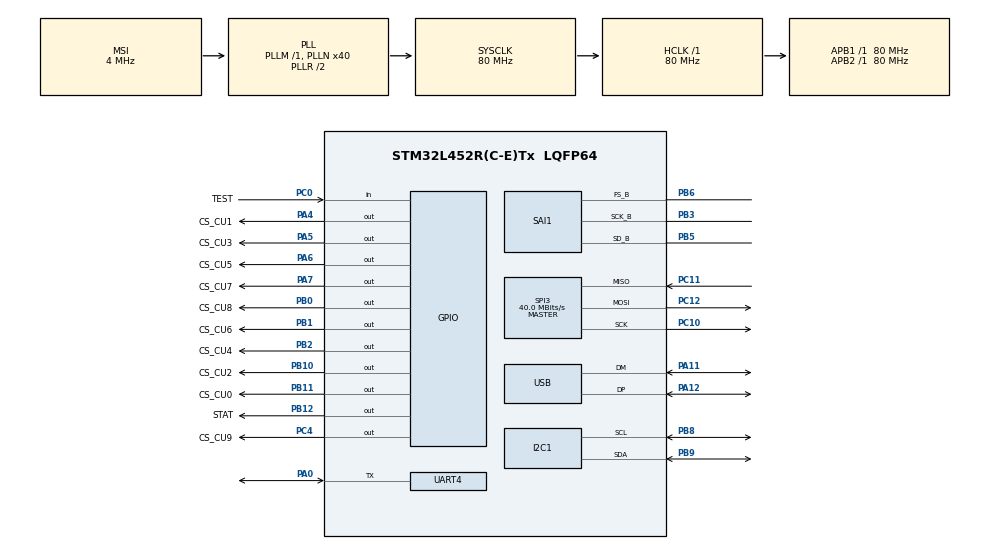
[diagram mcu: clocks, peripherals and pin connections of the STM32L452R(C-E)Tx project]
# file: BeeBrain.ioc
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Dma.Request0=SAI1_B
Dma.Request1=SPI3_RX
Dma.Request2=SPI3_TX
Dma.Request3=UART4_TX
Dma.Request4=UART4_RX
Dma.SAI1_B.0.Direction=DMA_PERIPH_TO_MEMORY
Dma.SAI1_B.0.Instance=DMA2_Channel7
Dma.SAI1_B.0.MemDataAlignment=DMA_MDATAALIGN_WORD
Dma.SAI1_B.0.MemInc=DMA_MINC_ENABLE
Dma.SAI1_B.0.Mode=DMA_CIRCULAR
Dma.SAI1_B.0.PeriphDataAlignment=DMA_PDATAALIGN_WORD
Dma.SAI1_B.0.PeriphInc=DMA_PINC_DISABLE
Dma.SAI1_B.0.Priority=DMA_PRIORITY_HIGH
Dma.SPI3_RX.1.Direction=DMA_PERIPH_TO_MEMORY
Dma.SPI3_RX.1.Instance=DMA2_Channel1
Dma.SPI3_RX.1.MemDataAlignment=DMA_MDATAALIGN_BYTE
Dma.SPI3_RX.1.MemInc=DMA_MINC_ENABLE
Dma.SPI3_RX.1.Mode=DMA_NORMAL
Dma.SPI3_RX.1.PeriphDataAlignment=DMA_PDATAALIGN_BYTE
Dma.SPI3_RX.1.PeriphInc=DMA_PINC_DISABLE
Dma.SPI3_RX.1.Priority=DMA_PRIORITY_LOW
Dma.SPI3_TX.2.Direction=DMA_MEMORY_TO_PERIPH
Dma.SPI3_TX.2.Instance=DMA2_Channel2
Dma.SPI3_TX.2.MemDataAlignment=DMA_MDATAALIGN_BYTE
Dma.SPI3_TX.2.MemInc=DMA_MINC_ENABLE
Dma.SPI3_TX.2.Mode=DMA_NORMAL
Dma.SPI3_TX.2.PeriphDataAlignment=DMA_PDATAALIGN_BYTE
Dma.SPI3_TX.2.PeriphInc=DMA_PINC_DISABLE
Dma.SPI3_TX.2.Priority=DMA_PRIORITY_LOW
Dma.UART4_RX.4.Direction=DMA_PERIPH_TO_MEMORY
Dma.UART4_RX.4.Instance=DMA2_Channel5
Dma.UART4_RX.4.MemDataAlignment=DMA_MDATAALIGN_BYTE
Dma.UART4_RX.4.MemInc=DMA_MINC_ENABLE
Dma.UART4_RX.4.Mode=DMA_NORMAL
Dma.UART4_RX.4.PeriphDataAlignment=DMA_PDATAALIGN_BYTE
Dma.UART4_RX.4.PeriphInc=DMA_PINC_DISABLE
Dma.UART4_RX.4.Priority=DMA_PRIORITY_LOW
Dma.UART4_TX.3.Direction=DMA_MEMORY_TO_PERIPH
Dma.UART4_TX.3.Instance=DMA2_Channel3
Dma.UART4_TX.3.MemDataAlignment=DMA_MDATAALIGN_BYTE
Dma.UART4_TX.3.MemInc=DMA_MINC_ENABLE
Dma.UART4_TX.3.Mode=DMA_NORMAL
Dma.UART4_TX.3.PeriphDataAlignment=DMA_PDATAALIGN_BYTE
Dma.UART4_TX.3.PeriphInc=DMA_PINC_DISABLE
Dma.UART4_TX.3.Priority=DMA_PRIORITY_LOW
I2C1.Timing=0x10D19CE4
Mcu.Family=STM32L4
Mcu.Name=STM32L452R(C-E)Tx
Mcu.Package=LQFP64
NVIC.DMA2_Channel1_IRQn=true\:0\:0\:false\:false\:true\:false\:true\:true
NVIC.DMA2_Channel2_IRQn=true\:0\:0\:false\:false\:true\:false\:true\:true
NVIC.DMA2_Channel3_IRQn=true\:0\:0\:false\:false\:true\:false\:true\:true
NVIC.DMA2_Channel5_IRQn=true\:0\:0\:false\:false\:true\:false\:true\:true
NVIC.DMA2_Channel7_IRQn=true\:0\:0\:false\:false\:true\:false\:true\:true
NVIC.PriorityGroup=NVIC_PRIORITYGROUP_4
NVIC.USB_IRQn=true\:0\:0\:false\:false\:true\:false\:true\:true
PA0.Mode=Half_duplex(single_wire_mode)
PA0.Signal=UART4_TX
PA11.Mode=Device
PA11.Signal=USB_DM
PA12.Mode=Device
PA12.Signal=USB_DP
PA13\ (JTMS/SWDIO).Mode=Serial_Wire
PA13\ (JTMS/SWDIO).Signal=SYS_JTMS-SWDIO
PA14\ (JTCK/SWCLK).Mode=Serial_Wire
PA14\ (JTCK/SWCLK).Signal=SYS_JTCK-SWCLK
PA4.GPIO_Label=CS_CU1
PA4.GPIO_PuPd=GPIO_PULLUP
PA4.Signal=GPIO_Output
PA5.GPIO_Label=CS_CU3
PA5.GPIO_PuPd=GPIO_PULLUP
PA5.Signal=GPIO_Output
PA6.GPIO_Label=CS_CU5
PA6.GPIO_PuPd=GPIO_PULLUP
PA6.Signal=GPIO_Output
PA7.GPIO_Label=CS_CU7
PA7.GPIO_PuPd=GPIO_PULLUP
PA7.Signal=GPIO_Output
PB0.GPIO_Label=CS_CU8
PB0.GPIO_PuPd=GPIO_PULLUP
PB0.Signal=GPIO_Output
PB1.GPIO_Label=CS_CU6
PB1.GPIO_PuPd=GPIO_PULLUP
PB1.Signal=GPIO_Output
PB10.GPIO_Label=CS_CU2
PB10.GPIO_PuPd=GPIO_PULLUP
PB10.Signal=GPIO_Output
PB11.GPIO_Label=CS_CU0
PB11.GPIO_PuPd=GPIO_PULLUP
PB11.Signal=GPIO_Output
PB12.GPIO_Label=STAT
PB12.GPIO_PuPd=GPIO_PULLUP
PB12.Signal=GPIO_Output
PB2.GPIO_Label=CS_CU4
PB2.GPIO_PuPd=GPIO_PULLUP
PB2.Signal=GPIO_Output
PB3\ (JTDO/TRACESWO).Mode=SAI_B_Master
PB3\ (JTDO/TRACESWO).Signal=SAI1_SCK_B
PB5.Mode=SAI_B_Master
PB5.Signal=SAI1_SD_B
PB6.Mode=SAI_B_Master
PB6.Signal=SAI1_FS_B
PB8.Mode=I2C
PB8.Signal=I2C1_SCL
PB9.Mode=I2C
PB9.Signal=I2C1_SDA
PC0.GPIO_Label=TEST
PC0.Signal=GPIO_Input
PC10.Mode=Full_Duplex_Master
PC10.Signal=SPI3_SCK
PC11.Mode=Full_Duplex_Master
PC11.Signal=SPI3_MISO
PC12.Mode=Full_Duplex_Master
PC12.Signal=SPI3_MOSI
PC4.GPIO_Label=CS_CU9
PC4.GPIO_PuPd=GPIO_PULLUP
PC4.Signal=GPIO_Output
ProjectManager.HeapSize=0x200
ProjectManager.StackSize=0x400
ProjectManager.TargetToolchain=STM32CubeIDE
RCC.ADCFreq_Value=48000000
RCC.AHBFreq_Value=80000000
RCC.APB1Freq_Value=80000000
RCC.APB1TimFreq_Value=80000000
RCC.APB2Freq_Value=80000000
RCC.APB2TimFreq_Value=80000000
RCC.CK48CLockSelection=RCC_USBCLKSOURCE_HSI48
RCC.CortexFreq_Value=80000000
RCC.HCLKFreq_Value=80000000
RCC.HSE_VALUE=8000000
RCC.HSI48_VALUE=48000000
RCC.HSI_VALUE=16000000
RCC.LSE_VALUE=32768
RCC.MSI_VALUE=4000000
RCC.PLLN=40
RCC.PLLSAI1N=24
RCC.PLLSAI1P=RCC_PLLP_DIV2
RCC.SYSCLKFreq_VALUE=80000000
RCC.SYSCLKSource=RCC_SYSCLKSOURCE_PLLCLK
RCC.USBFreq_Value=48000000
RCC.VCOOutputFreq_Value=160000000
SAI1.AudioFrequency-SAI_B_Master=SAI_AUDIO_FREQUENCY_16K
SAI1.AudioMode-SAI_B_Master=SAI_MODEMASTER_RX
SAI1.BasicDataSize-SAI_B_Master=SAI_PROTOCOL_DATASIZE_24BIT
SAI1.BasicSlotNumber-SAI_B_Master=2
SAI1.ErrorAudioFreq-SAI_B_Master=-2.34 %
SAI1.InitProtocol-SAI_B_Master=Enable
SAI1.Instance-SAI_B_Master=SAI$Index_Block_B
SAI1.MClockEnable-SAI_B_Master=SAI_MASTERCLOCK_DISABLE
SAI1.MonoStereoMode-SAI_B_Master=SAI_MONOMODE
SAI1.NoDivider-SAI_B_Master=SAI_MASTERDIVIDER_ENABLE
SAI1.OutputDrive-SAI_B_Master=SAI_OUTPUTDRIVE_DISABLE
SAI1.RealAudioFreq-SAI_B_Master=15.625 KHz
SAI1.VirtualMode-SAI_B_Master=VM_MASTER
SAI1.VirtualProtocol-SAI_B_BASIC=VM_BASIC_PROTOCOL
SPI3.CalculateBaudRate=40.0 MBits/s
SPI3.DataSize=SPI_DATASIZE_8BIT
SPI3.Direction=SPI_DIRECTION_2LINES
SPI3.Mode=SPI_MODE_MASTER
SPI3.VirtualType=VM_MASTER
STMicroelectronics.X-CUBE-ALGOBUILD.1.4.0.LibraryCcDSPOoLibraryJjDSPOoLibrary=true
USB_DEVICE.CLASS_NAME_FS=CDC
USB_DEVICE.VirtualMode=Cdc
USB_DEVICE.VirtualModeFS=Cdc_FS
VP_SAI1_VP_$IpInstance_SAIB_SAI_BASIC.Mode=SAI_B_BASIC
VP_STMicroelectronics.X-CUBE-ALGOBUILD_VS_DSPOoLibraryJjLibrary_1.4.0_1.4.0.Mode=DSPOoLibraryJjLibrary
VP_USB_DEVICE_VS_USB_DEVICE_CDC_FS.Mode=CDC_FS
board=custom

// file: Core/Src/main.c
/* USER CODE BEGIN Header */
/**
  ******************************************************************************
  * @file           : main.c
  * @brief          : Main program body
  ******************************************************************************
  * @attention
  *
  * Copyright (c) 2024 STMicroelectronics.
  * All rights reserved.
  *
  * This software is licensed under terms that can be found in the LICENSE file
  * in the root directory of this software component.
  * If no LICENSE file comes with this software, it is provided AS-IS.
  *
  ******************************************************************************
  */
/* USER CODE END Header */
#include "main.h"
#include "dma.h"
#include "i2c.h"
#include "sai.h"
#include "spi.h"
#include "usart.h"
#include "usb_device.h"
#include "gpio.h"

/* USER CODE BEGIN Includes */

#include "usbd_cdc_if.h"
#include "scd4x_i2c.h"
#include "string.h"
/* USER CODE END Includes */

/* USER CODE BEGIN PV */
uint8_t USB_Flag;
USB_Command_t USB_Command;

/** Received data over USB are stored in this buffer      */
extern uint8_t UserRxBufferFS[APP_RX_DATA_SIZE];

/** Data to send over USB CDC are stored in this buffer   */
extern uint8_t UserTxBufferFS[APP_TX_DATA_SIZE];
uint16_t UserTxBufferFS_pointer;

/*Response arrays variables*/
int8_t SCD_data[16];
int8_t BRAIN_response[4];
uint8_t spi_response;
int8_t audio_mode = 0;
int32_t data_sai[WAV_WRITE_SAMPLE_COUNT];
float32_t data_mic_left[WAV_WRITE_SAMPLE_COUNT];

volatile int16_t sample_sai;
arm_rfft_fast_instance_f32 fft_audio_instance;
volatile uint8_t  half_sai, full_sai;

CUPREXIT_Command active_command;
CUPREXIT_Device *active_device;

//CUPREXIT_Device CU_devices[NMBR_CU];

int8_t SPIRxBuffer[64];
int8_t SPITxBuffer[64];

uint8_t timestamp[8];
/* USER CODE END PV */

void SystemClock_Config(void);

int main(void)
{

  /* MCU Configuration--------------------------------------------------------*/

  /* Reset of all peripherals, Initializes the Flash interface and the Systick. */
  HAL_Init();

  /* Configure the system clock */
  SystemClock_Config();

  /* Initialize all configured peripherals */
  MX_GPIO_Init();
  MX_DMA_Init();
  MX_I2C1_Init();
  MX_SAI1_Init();
  MX_SPI3_Init();
  MX_UART4_Init();
  MX_USB_DEVICE_Init();
  /* USER CODE BEGIN 2 */
  char* data = "STARTING WHILE receiving\r\n";
  char* data2 = "Recived\r\n";
  /*Start Usart half duplex comunication*/
  //int i = 0;
  /*CUPREXIT_InitDevice(&CU_devices[0], &hspi3, i++, CS_CU0_Pin, CS_CU0_GPIO_Port);
  CUPREXIT_InitDevice(&CU_devices[1], &hspi3, i++, CS_CU1_Pin, CS_CU1_GPIO_Port);
  CUPREXIT_InitDevice(&CU_devices[2], &hspi3, i++, CS_CU2_Pin, CS_CU2_GPIO_Port);
  CUPREXIT_InitDevice(&CU_devices[3], &hspi3, i++, CS_CU3_Pin, CS_CU3_GPIO_Port);
  CUPREXIT_InitDevice(&CU_devices[4], &hspi3, i++, CS_CU4_Pin, CS_CU4_GPIO_Port);
  CUPREXIT_InitDevice(&CU_devices[5], &hspi3, i++, CS_CU5_Pin, CS_CU5_GPIO_Port);
  CUPREXIT_InitDevice(&CU_devices[6], &hspi3, i++, CS_CU6_Pin, CS_CU6_GPIO_Port);
  CUPREXIT_InitDevice(&CU_devices[7], &hspi3, i++, CS_CU7_Pin, CS_CU7_GPIO_Port);
  CUPREXIT_InitDevice(&CU_devices[8], &hspi3, i++, CS_CU8_Pin, CS_CU8_GPIO_Port);
  CUPREXIT_InitDevice(&CU_devices[9], &hspi3, i++, CS_CU9_Pin, CS_CU9_GPIO_Port);
  handleCUPCommand(CUPREXIT_COMMAND_GET_CALIB, CU_devices);*/

  /* USER CODE END 2 */

  /* Infinite loop */
  /* USER CODE BEGIN WHILE */
  //HAL_UART_Transmit(&huart4, (uint8_t*)"STARTING WHILE receiving\r\n", 26, 1000);
  //nastavení urt na příme do DMA
  //HAL_HalfDuplex_EnableReceiver(&huart4);
  //HAL_UART_Receive_DMA(&huart4, UserRxBufferFS, APP_RX_DATA_SIZE);
  USB_Command=USB_COMMAND_GET_AUDIO;
  audio_mode = 0;
  USB_Flag=1;
  HAL_UART_Transmit(&huart4, (uint8_t*)"STARTING WHILE receiving\r\n", 26, 1000);
  while (1)
  {

    //CDC_Transmit_FS((uint8_t*)data, strlen(data));
    //HAL_Delay(1000);
    if (USB_Flag == 1){
	  	//CDC_Transmit_FS((uint8_t*)data2, strlen(data2));

      	USB_Flag = 0;
        //USB_Command = UserRxBufferFS[0];
        uint8_t* USB_DATA = &UserRxBufferFS[1];
        uint8_t tmp_off[4], alt[2];
        uint8_t data[10] ;
        uint8_t scd_serial[6];
        uint8_t command_byte = (uint8_t)USB_Command;
      	switch(USB_Command){
          /*case USB_COMMAND_RESET:
            addDataToUSBBuffer((uint8_t*)USB_COMMAND_RESET, 1, 0);
            sendUSBMasssage();
            resetDevice();
            break;  */
      	  /*case USB_COMMAND_PING:
            addDataToUSBBuffer((uint8_t*)USB_COMMAND_PING, 1, 0);
            break;
*/
          /*case USB_COMMAND_CONF:
            scd4x_wake_up();
            addDataToUSBBuffer(handleSCD4xGetting(scd_serial, 4, scd4x_get_serial_number_block, SCD_OK, SCD_ERR), 2, SCD_LOG_SNO);
            addDataToUSBBuffer(scd_serial, sizeof(scd_serial), SCD_SNO);
            addDataToUSBBuffer(handleSCD4xGetting(tmp_off, 4, scd4x_get_temperature_offset_int8, SCD_OK, SCD_ERR), 4, SCD_LOG_TEMP);
            addDataToUSBBuffer(tmp_off, sizeof(tmp_off), SCD_CAL_TEMP);
            addDataToUSBBuffer(handleSCD4xGetting(alt, 4, scd4x_get_sensor_altitude_int8, SCD_OK, SCD_ERR), 2, SCD_LOG_ALT);
            addDataToUSBBuffer(alt, sizeof(alt), SCD_CAL_ALT);
            scd4x_power_down();
            addDataToUSBBuffer(NULL, 1, CUx_TEMP);
            //for (int i = 0; i < NMBR_CU; i++) {
              //addDataToUSBBuffer((uint8_t*)&CU_devices[i].User_ID, sizeof(CU_devices[i].User_ID), 0);
              //addDataToUSBBuffer((uint8_t*)(CU_devices[i].Device_UID), sizeof(CU_devices[i].Device_UID), 0);
              //addDataToUSBBuffer((uint8_t*)(CU_devices[i].calib), sizeof(CU_devices[i].calib), 0);
            //}
            break;
*/
          case USB_COMMAND_GET_AUDIO:
            StartAudioProcessing(0,0);
            break;
          /*case USB_COMMAND_CLIMA:
            addDataToBuffer(&command_byte, 1,0);
            //addDataToUSBBuffer(handleSCD4xGetting(data, 4, scd4x_read_measurement_block, SCD_OK, SCD_ERR), 2, 0);
            addDataToBuffer(data, sizeof(data), SCD_DATA);
            break;
          */

          case USB_COMMAND_GET_CU_CALIB:
            //handleCUPCommand(CUPREXIT_COMMAND_GET_CALIB, CU_devices);
            break;
          case USB_COMMAND_SET_CU_CALIB:

           // handleCUPCommand(CUPREXIT_COMMAND_SET_CALIB, CU_devices);
            break;
          case USB_COMMAND_GET_CU_TEMP:
            //handleCUPCommand(CUPREXIT_COMMAND_MEAS, CU_devices);
            break;
          case USB_COMMAND_MEAS:
            //handleCUPCommand(CUPREXIT_COMMAND_MEAS, CU_devices);
            break;
          case USB_COMMAND_CU_STATUS:
            //addDataToUSBBuffer((uint8_t*)USB_COMMAND_CU_STATUS, 1, 0);

            break;

          case USB_COMMAND_SCD_STATUS:
            //addDataToUSBBuffer((uint8_t *) USB_COMMAND_SCD_STATUS, 1, 0);
            scd4x_wake_up();
            /*addDataToUSBBuffer(handleSCD4xGetting(tmp_off, 4, scd4x_get_temperature_offset_int8, SCD_OK, SCD_ERR), 4, SCD_LOG_TEMP);
            addDataToUSBBuffer(tmp_off, sizeof(tmp_off), SCD_CAL_TEMP);
            addDataToUSBBuffer(handleSCD4xGetting(alt, 4, scd4x_get_sensor_altitude_int8, SCD_OK, SCD_ERR), 2, SCD_LOG_ALT);
            addDataToUSBBuffer(alt, sizeof(alt), SCD_CAL_ALT);*/
            scd4x_power_down();
            break;
          case USB_COMMAND_SCD_CALIB:
            //addDataToUSBBuffer((uint8_t*)USB_COMMAND_SCD_CALIB, 1,0);
            scd4x_wake_up(  );
            //addDataToUSBBuffer(handleSCD4xSetting(&USB_DATA[0], 4, scd4x_set_temperature_offset_int8, SCD_OK, SCD_ERR), 2, 0);
            //addDataToUSBBuffer(handleSCD4xSetting(&USB_DATA[4], 4, scd4x_set_sensor_altitude_int8, SCD_OK, SCD_ERR), 2, 0);
            scd4x_power_down();
            break;
          case USB_COMMAND_TEST:
            //addDataToUSBBuffer((uint8_t*)USB_COMMAND_TEST, 1,0);
            //addDataToUSBBuffer((uint8_t*)USB_DATA, 40, 0);
            break;
          default:
            break;
      }
      //addDataToUSBBuffer((uint8_t*)END_MESSAGE, 1, 0);

    }
    /* USER CODE END WHILE */

  }
}

void SystemClock_Config(void)
{
  RCC_OscInitTypeDef RCC_OscInitStruct = {0};
  RCC_ClkInitTypeDef RCC_ClkInitStruct = {0};

  /** Configure the main internal regulator output voltage
  */
  if (HAL_PWREx_ControlVoltageScaling(PWR_REGULATOR_VOLTAGE_SCALE1) != HAL_OK)
  {
    Error_Handler();
  }

  /** Initializes the RCC Oscillators according to the specified parameters
  * in the RCC_OscInitTypeDef structure.
  */
  RCC_OscInitStruct.OscillatorType = RCC_OSCILLATORTYPE_HSI48|RCC_OSCILLATORTYPE_MSI;
  RCC_OscInitStruct.HSI48State = RCC_HSI48_ON;
  RCC_OscInitStruct.MSIState = RCC_MSI_ON;
  RCC_OscInitStruct.MSICalibrationValue = 0;
  RCC_OscInitStruct.MSIClockRange = RCC_MSIRANGE_6;
  RCC_OscInitStruct.PLL.PLLState = RCC_PLL_ON;
  RCC_OscInitStruct.PLL.PLLSource = RCC_PLLSOURCE_MSI;
  RCC_OscInitStruct.PLL.PLLM = 1;
  RCC_OscInitStruct.PLL.PLLN = 40;
  RCC_OscInitStruct.PLL.PLLP = RCC_PLLP_DIV7;
  RCC_OscInitStruct.PLL.PLLQ = RCC_PLLQ_DIV2;
  RCC_OscInitStruct.PLL.PLLR = RCC_PLLR_DIV2;
  if (HAL_RCC_OscConfig(&RCC_OscInitStruct) != HAL_OK)
  {
    Error_Handler();
  }

  /** Initializes the CPU, AHB and APB buses clocks
  */
  RCC_ClkInitStruct.ClockType = RCC_CLOCKTYPE_HCLK|RCC_CLOCKTYPE_SYSCLK
                              |RCC_CLOCKTYPE_PCLK1|RCC_CLOCKTYPE_PCLK2;
  RCC_ClkInitStruct.SYSCLKSource = RCC_SYSCLKSOURCE_PLLCLK;
  RCC_ClkInitStruct.AHBCLKDivider = RCC_SYSCLK_DIV1;
  RCC_ClkInitStruct.APB1CLKDivider = RCC_HCLK_DIV1;
  RCC_ClkInitStruct.APB2CLKDivider = RCC_HCLK_DIV1;

  if (HAL_RCC_ClockConfig(&RCC_ClkInitStruct, FLASH_LATENCY_4) != HAL_OK)
  {
    Error_Handler();
  }
}

/* USER CODE BEGIN 4 */

void processReceivedData(uint8_t *data) {
    int8_t size=2;
    switch (data[0]) {
      case USB_COMMAND_PING:
          size++;
          break;
      case USB_COMMAND_GET_CU_CALIB: /*recieve actual calib data*/
      case USB_COMMAND_SET_CU_CALIB: /*recieve old calib data*/
      case USB_COMMAND_GET_CU_TEMP: /*recieve actual temp data*/
          //size = size + NMBR_CU_TEMP*4;
          break;
      case USB_COMMAND_CU_STATUS:
          size = 64;
    }
    // Přidání dat do bufferu
    addDataToUSBBuffer(data, size, CUx_TEMP);
}

void resetDevice() {
  /*todo reset cuprexits*/
  HAL_NVIC_SystemReset();
}

/* USER CODE END 4 */

void Error_Handler(void)
{
  __disable_irq();
  while (1)
  {
  }
}
